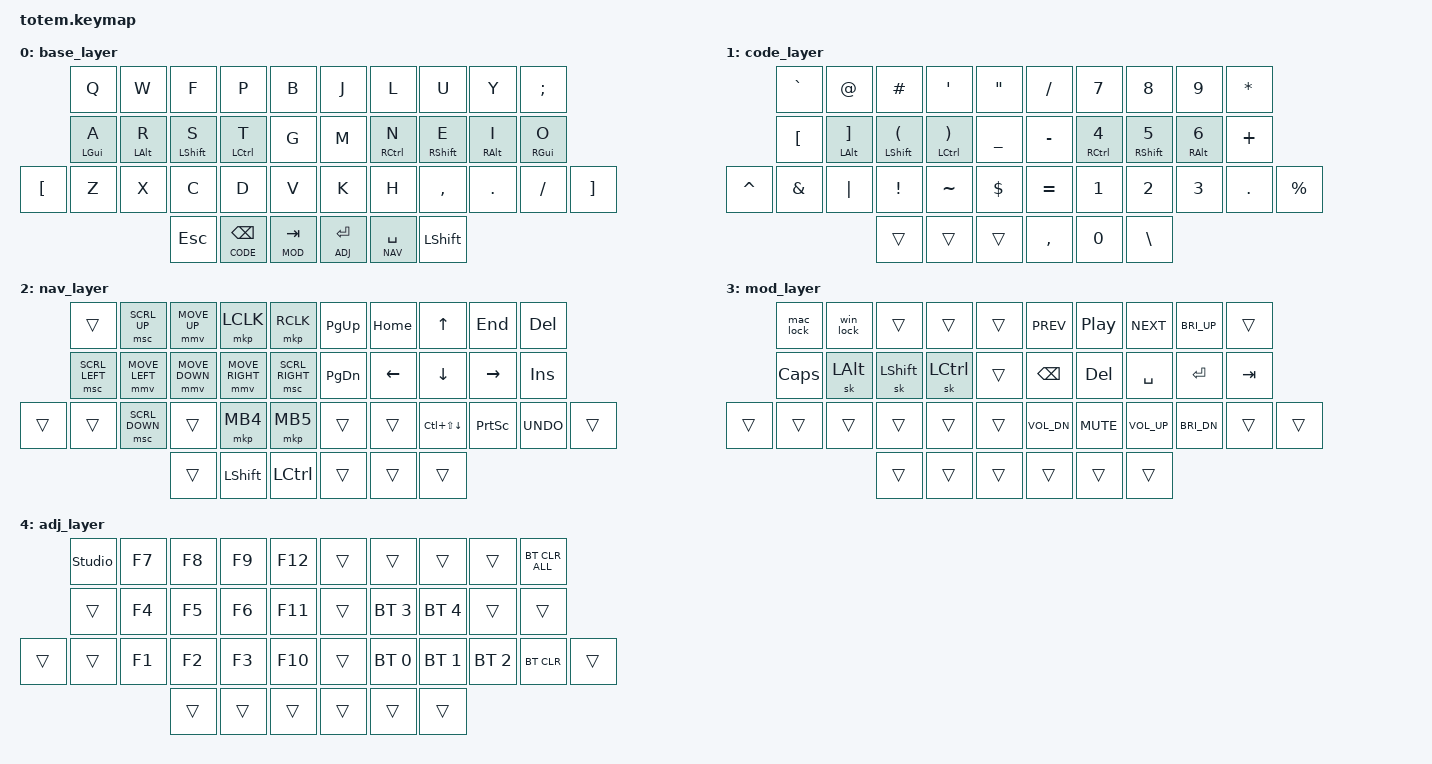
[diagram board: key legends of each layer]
#include <behaviors.dtsi>
#include <dt-bindings/zmk/keys.h>
#include <dt-bindings/zmk/bt.h>
#include <dt-bindings/zmk/pointing.h>

#define BASE 0
#define CODE 1
#define NAV  2
#define MOD  3
#define ADJ  4

/ {
    behaviors {
        hml: homerow_mods_left {
            compatible = "zmk,behavior-hold-tap";
            #binding-cells = <2>;
            tapping-term-ms = <200>;
            quick-tap-ms = <175>;
            require-prior-idle-ms = <150>;
            flavor = "balanced";
            bindings = <&kp>, <&kp>;
            // only fire the mod when chorded with an opposite-hand (right) key
            hold-trigger-key-positions = <5 6 7 8 9 15 16 17 18 19 26 27 28 29 30 31 35 36 37>;
        };
        
        hmr: homerow_mods_right {
            compatible = "zmk,behavior-hold-tap";
            #binding-cells = <2>;
            tapping-term-ms = <200>;
            quick-tap-ms = <175>;
            require-prior-idle-ms = <150>;
            flavor = "balanced";
            bindings = <&kp>, <&kp>;
            // only fire the mod when chorded with an opposite-hand (left) key
            hold-trigger-key-positions = <0 1 2 3 4 10 11 12 13 14 20 21 22 23 24 25 32 33 34>;
        };
        
        td_bs_pipe: backslash_pipe {
            compatible = "zmk,behavior-hold-tap";
            #binding-cells = <2>;
            tapping-term-ms = <200>;
            flavor = "tap-preferred";
            bindings = <&kp>, <&kp>;
        };
    };

    combos {
        compatible = "zmk,combos";
        
        combo_esc {
            timeout-ms = <50>;
            key-positions = <0 1>;
            bindings = <&kp ESC>;
            layers = <0>; 
        };
        
        combo_dictation {
            timeout-ms = <50>;
            key-positions = <26 27>;
            bindings = <&kp LA(SPACE)>;
            slow-release;
            layers = <0>; 
        };
        
        combo_enye {
            timeout-ms = <50>;
            key-positions = <8 9>;
            bindings = <&kp RA(N)>;
            layers = <0>; 
        };
    };

    macros {
        mac_lock: mac_lock_screen {
            compatible = "zmk,behavior-macro";
            #binding-cells = <0>;
            bindings = <&macro_press &kp LGUI &kp LCTRL>
                     , <&macro_pause_for_release>
                     , <&macro_tap &kp Q>
                     , <&macro_release &kp LGUI &kp LCTRL>;
        };
        
        win_lock: win_lock_screen {
            compatible = "zmk,behavior-macro";
            #binding-cells = <0>;
            bindings = <&macro_press &kp LGUI>
                     , <&macro_tap &kp L>
                     , <&macro_release &kp LGUI>;
        };
    };

    keymap {
        compatible = "zmk,keymap";

    base_layer {
        bindings = <
                &kp Q           &kp W           &kp F           &kp P           &kp B               &kp J           &kp L           &kp U           &kp Y           &kp SEMI
                &hml LGUI A     &hml LALT R     &hml LSHFT S    &hml LCTRL T    &kp G               &kp M           &hmr RCTRL N    &hmr RSHFT E    &hmr RALT I     &hmr RGUI O
     &kp LBKT   &kp Z           &kp X           &kp C           &kp D           &kp V               &kp K           &kp H           &kp COMMA       &kp DOT         &kp FSLH        &kp RBKT
                                         &kp ESC         &lt CODE BSPC       &lt MOD TAB     &lt ADJ ENTER   &lt NAV SPACE   &kp LSHFT
        >;
    };


    code_layer {
        bindings = <
            &kp GRAVE       &kp AT          &kp HASH        &kp SQT         &kp DQT             &kp FSLH        &kp N7          &kp N8          &kp N9          &kp STAR
            &kp LBKT        &hml LALT RBKT  &hml LSHFT LPAR &hml LCTRL RPAR &kp UNDER           &kp MINUS       &hmr RCTRL N4   &hmr RSHFT N5   &hmr RALT N6    &kp PLUS
            &kp CARET       &kp AMPS        &kp PIPE        &kp EXCL        &kp TILDE           &kp DLLR        &kp EQUAL       &kp N1          &kp N2          &kp N3          &kp DOT         &kp PRCNT
                                                            &trans          &trans              &trans          &kp COMMA       &kp N0          &kp BSLH
        >;
    };

        nav_layer {
            bindings = <
                &trans          &msc SCRL_UP    &mmv MOVE_UP    &mkp LCLK       &mkp RCLK           &kp PG_UP       &kp HOME        &kp UP          &kp END         &kp DEL
                &msc SCRL_LEFT  &mmv MOVE_LEFT  &mmv MOVE_DOWN  &mmv MOVE_RIGHT &msc SCRL_RIGHT     &kp PG_DN       &kp LEFT        &kp DOWN        &kp RIGHT       &kp INS
                &trans          &trans          &msc SCRL_DOWN  &trans          &mkp MB4            &mkp MB5        &trans          &trans        &kp LC(LS(DOWN))  &kp PSCRN       &kp K_UNDO      &trans
                                                                &trans          &kp LSHFT           &kp LCTRL       &trans          &trans          &trans
            >;
        };

        mod_layer {
            bindings = <
                &mac_lock       &win_lock       &trans          &trans          &trans              &kp C_PREV      &kp C_PP        &kp C_NEXT      &kp C_BRI_UP    &trans
                &kp CAPS        &sk LALT        &sk LSHFT       &sk LCTRL       &trans              &kp BSPC        &kp DEL         &kp SPACE       &kp ENTER       &kp TAB
                &trans          &trans          &trans          &trans          &trans              &trans          &kp C_VOL_DN    &kp C_MUTE      &kp C_VOL_UP    &kp C_BRI_DN    &trans          &trans
                                                                &trans          &trans              &trans          &trans          &trans          &trans
            >;
        };

        adj_layer {
            bindings = <
                &studio_unlock  &kp F7          &kp F8          &kp F9          &kp F12             &trans          &trans          &trans          &trans          &bt BT_CLR_ALL
                &trans          &kp F4          &kp F5          &kp F6          &kp F11             &trans          &bt BT_SEL 3    &bt BT_SEL 4    &trans          &trans
                &trans          &trans          &kp F1          &kp F2          &kp F3              &kp F10         &trans          &bt BT_SEL 0    &bt BT_SEL 1    &bt BT_SEL 2    &bt BT_CLR      &trans
                                                                &trans          &trans              &trans          &trans          &trans          &trans
            >;
        };
    };
};

&sk {
    release-after-ms = <2000>;
    quick-release;
};
